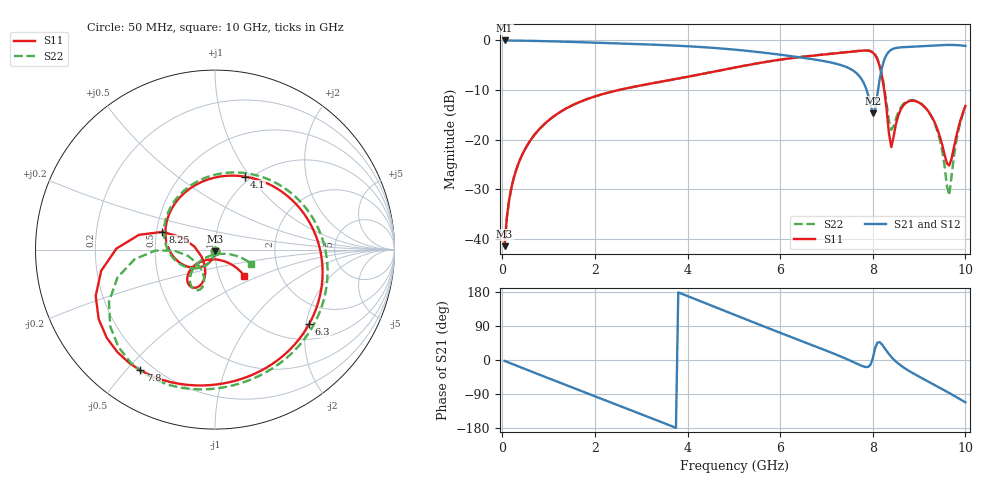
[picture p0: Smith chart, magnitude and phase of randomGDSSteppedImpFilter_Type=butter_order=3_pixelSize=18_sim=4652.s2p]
! freq	dB(S11)	phase(S11)	dB(S12)	phase(S12)
!  dB(S21)	phase(S21)	dB(S22)	phase(S22)
!S-par simulation data
#  GHz  S  DB  R 50
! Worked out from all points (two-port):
!   200 points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, 50 MHz to 10 GHz, reference 50 ohm
!   highest |S21| = 0.00 dB at 50 MHz (marker M1); lowest = -14.7 dB at 8 GHz (marker M2)
!   |S21| within 3 dB of the highest: start of sweep to 6.111 GHz; 8.292 GHz to end of sweep
!   lowest |S11| = -41.5 dB at 50 MHz (marker M3), VSWR 1.02, Z = 50 - j0.844 ohm
!   |S11| at or under -10 dB: start of sweep to 2.51 GHz; 8.247 GHz to end of sweep
!   |S22| runs from -41.5 to -2.0 dB; largest |S21 - S12| = 0
!   S11 on the Smith chart (normalised r, x): 50 MHz: 1.00, -0.02; 4.1 GHz: 0.94, +0.94; 6.3 GHz: 1.40, -2.09; 7.8 GHz: 0.15, -0.55; 8.25 GHz: 0.54, +0.12; 10 GHz: 1.32, -0.40
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0.05  -41.46 -91.5  -0.00 -2.5  -0.00 -2.5  -41.46 -91.5
0.2  -29.56 -99.9  -0.02 -9.7  -0.02 -9.7  -29.56 -99.6
0.5  -21.76 -115.2  -0.06 -24.2  -0.06 -24.2  -21.76 -114.3
1.75  -12.11 -176.4  -0.37 -83.9  -0.37 -83.9  -12.11 -173.1
2.5  -10.02 147.1  -0.60 -119.3  -0.60 -119.3  -10.03 152.5
3.4  -8.36 102.7  -0.91 -162.2  -0.91 -162.2  -8.37 111.0
4.1  -7.15 67.9  -1.22 163.9  -1.22 163.9  -7.15 78.2
5.05  -5.41 21.1  -1.88 117.5  -1.88 117.5  -5.41 33.1
6.3  -3.50 -38.2  -3.24 57.6  -3.24 57.6  -3.48 -25.8
6.7  -3.07 -56.8  -3.78 38.9  -3.78 38.9  -3.05 -44.4
7.8  -2.04 -121.8  -8.47 -17.2  -8.47 -17.2  -1.98 -108.5
8  -2.44 -149.1  -14.69 4.0  -14.69 4.0  -2.33 -134.7
8.1  -3.81 -169.5  -10.88 46.1  -10.88 46.1  -3.63 -153.8
8.25  -10.20 161.3  -3.84 32.4  -3.84 32.4  -9.57 -179.1
8.35  -18.78 172.0  -2.24 15.5  -2.24 15.5  -16.22 -167.0
8.4  -21.50 -151.2  -1.87 8.1  -1.87 8.1  -18.02 -143.3
8.75  -12.38 -117.7  -1.32 -26.3  -1.32 -26.3  -12.20 -112.7
9.15  -13.71 -137.1  -1.11 -53.7  -1.11 -53.7  -13.74 -132.3
9.45  -19.40 -140.1  -0.95 -73.4  -0.95 -73.4  -20.11 -142.0
9.65  -25.22 -86.9  -0.90 -87.0  -0.90 -87.0  -31.23 -70.0
9.8  -19.48 -44.5  -0.93 -97.5  -0.93 -97.5  -20.46 -16.9
10  -13.19 -41.7  -1.11 -111.6  -1.11 -111.6  -13.34 -21.2
